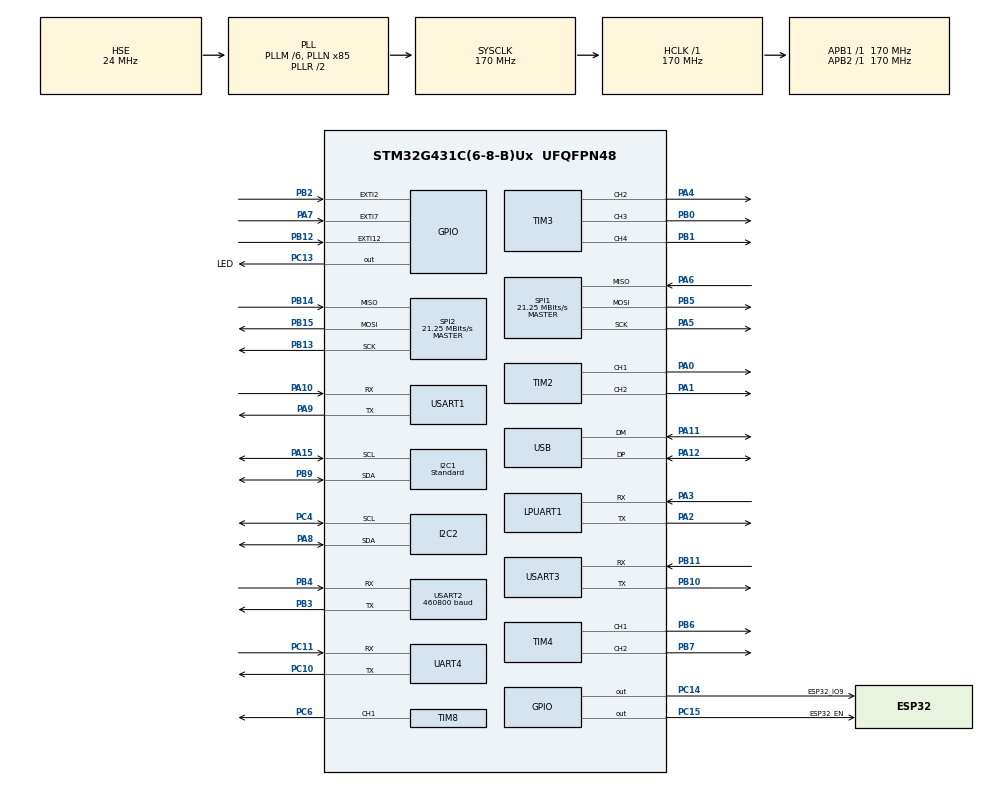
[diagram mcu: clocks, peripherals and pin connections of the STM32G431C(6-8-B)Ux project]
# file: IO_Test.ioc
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I2C1.I2C_Speed_Mode=I2C_Standard
I2C1.Timing=0x40B285C2
I2C2.Timing=0x40B285C2
Mcu.Family=STM32G4
Mcu.Name=STM32G431C(6-8-B)Ux
Mcu.Package=UFQFPN48
NVIC.PriorityGroup=NVIC_PRIORITYGROUP_4
NVIC.UART4_IRQn=true\:0\:0\:false\:false\:true\:true\:true\:true
NVIC.USART1_IRQn=true\:0\:0\:false\:false\:true\:true\:true\:true
NVIC.USART2_IRQn=true\:0\:0\:false\:false\:true\:true\:true\:true
NVIC.USART3_IRQn=true\:0\:0\:false\:false\:true\:true\:true\:true
NVIC.USB_LP_IRQn=true\:0\:0\:false\:false\:true\:false\:true\:true
PA0.Signal=S_TIM2_CH1
PA1.Signal=S_TIM2_CH2
PA10.Mode=Asynchronous
PA10.Signal=USART1_RX
PA11.Mode=Device
PA11.Signal=USB_DM
PA12.Mode=Device
PA12.Signal=USB_DP
PA13.Mode=Serial_Wire
PA13.Signal=SYS_JTMS-SWDIO
PA14.Mode=Serial_Wire
PA14.Signal=SYS_JTCK-SWCLK
PA15.Mode=I2C
PA15.Signal=I2C1_SCL
PA2.Mode=Asynchronous
PA2.Signal=LPUART1_TX
PA3.Mode=Asynchronous
PA3.Signal=LPUART1_RX
PA4.Signal=S_TIM3_CH2
PA5.Mode=Full_Duplex_Master
PA5.Signal=SPI1_SCK
PA6.Mode=Full_Duplex_Master
PA6.Signal=SPI1_MISO
PA7.Signal=GPXTI7
PA8.Mode=I2C
PA8.Signal=I2C2_SDA
PA9.Mode=Asynchronous
PA9.Signal=USART1_TX
PB0.Signal=S_TIM3_CH3
PB1.Signal=S_TIM3_CH4
PB10.Mode=Asynchronous
PB10.Signal=USART3_TX
PB11.Mode=Asynchronous
PB11.Signal=USART3_RX
PB12.Signal=GPXTI12
PB13.Mode=Full_Duplex_Master
PB13.Signal=SPI2_SCK
PB14.Mode=Full_Duplex_Master
PB14.Signal=SPI2_MISO
PB15.Mode=Full_Duplex_Master
PB15.Signal=SPI2_MOSI
PB2.Signal=GPXTI2
PB3.Mode=Asynchronous
PB3.Signal=USART2_TX
PB4.Mode=Asynchronous
PB4.Signal=USART2_RX
PB5.Mode=Full_Duplex_Master
PB5.Signal=SPI1_MOSI
PB6.Signal=S_TIM4_CH1
PB7.Signal=S_TIM4_CH2
PB9.Mode=I2C
PB9.Signal=I2C1_SDA
PC10.Mode=Asynchronous
PC10.Signal=UART4_TX
PC11.Mode=Asynchronous
PC11.Signal=UART4_RX
PC13.GPIO_Label=LED
PC13.Signal=GPIO_Output
PC14-OSC32_IN.GPIO_Label=ESP32_IO9
PC14-OSC32_IN.Signal=GPIO_Output
PC15-OSC32_OUT.GPIO_Label=ESP32_EN
PC15-OSC32_OUT.Signal=GPIO_Output
PC4.Mode=I2C
PC4.Signal=I2C2_SCL
PC6.Signal=S_TIM8_CH1
PF0-OSC_IN.Mode=HSE-External-Oscillator
PF0-OSC_IN.Signal=RCC_OSC_IN
PF1-OSC_OUT.Mode=HSE-External-Oscillator
PF1-OSC_OUT.Signal=RCC_OSC_OUT
ProjectManager.HeapSize=0x200
ProjectManager.StackSize=0x400
ProjectManager.TargetToolchain=MDK-ARM V5.32
RCC.ADC12Freq_Value=170000000
RCC.AHBFreq_Value=170000000
RCC.APB1Freq_Value=170000000
RCC.APB1TimFreq_Value=170000000
RCC.APB2Freq_Value=170000000
RCC.APB2TimFreq_Value=170000000
RCC.CK48CLockSelection=RCC_USBCLKSOURCE_HSI48
RCC.CortexFreq_Value=170000000
RCC.EXTERNAL_CLOCK_VALUE=12288000
RCC.HCLKFreq_Value=170000000
RCC.HSE_VALUE=24000000
RCC.HSI48_VALUE=48000000
RCC.HSI_VALUE=16000000
RCC.LSE_VALUE=32768
RCC.PLLM=RCC_PLLM_DIV6
RCC.PLLN=85
RCC.PLLSourceVirtual=RCC_PLLSOURCE_HSE
RCC.SYSCLKFreq_VALUE=170000000
RCC.SYSCLKSource=RCC_SYSCLKSOURCE_PLLCLK
RCC.USBFreq_Value=48000000
RCC.VCOOutputFreq_Value=340000000
SH.S_TIM2_CH1.0=TIM2_CH1,PWM Generation1 CH1
SH.S_TIM2_CH2.0=TIM2_CH2,PWM Generation2 CH2
SH.S_TIM3_CH2.0=TIM3_CH2,PWM Generation2 CH2
SH.S_TIM3_CH3.0=TIM3_CH3,PWM Generation3 CH3
SH.S_TIM3_CH4.0=TIM3_CH4,PWM Generation4 CH4
SH.S_TIM4_CH1.0=TIM4_CH1,PWM Generation1 CH1
SH.S_TIM4_CH2.0=TIM4_CH2,PWM Generation2 CH2
SH.S_TIM8_CH1.0=TIM8_CH1,PWM Generation1 CH1
SPI1.BaudRatePrescaler=SPI_BAUDRATEPRESCALER_8
SPI1.CalculateBaudRate=21.25 MBits/s
SPI1.Direction=SPI_DIRECTION_2LINES
SPI1.Mode=SPI_MODE_MASTER
SPI1.VirtualType=VM_MASTER
SPI2.BaudRatePrescaler=SPI_BAUDRATEPRESCALER_8
SPI2.CalculateBaudRate=21.25 MBits/s
SPI2.Direction=SPI_DIRECTION_2LINES
SPI2.Mode=SPI_MODE_MASTER
SPI2.VirtualType=VM_MASTER
TIM2.Channel-PWM\ Generation1\ CH1=TIM_CHANNEL_1
TIM2.Channel-PWM\ Generation2\ CH2=TIM_CHANNEL_2
TIM3.Channel-PWM\ Generation2\ CH2=TIM_CHANNEL_2
TIM3.Channel-PWM\ Generation3\ CH3=TIM_CHANNEL_3
TIM3.Channel-PWM\ Generation4\ CH4=TIM_CHANNEL_4
TIM4.Channel-PWM\ Generation1\ CH1=TIM_CHANNEL_1
TIM4.Channel-PWM\ Generation2\ CH2=TIM_CHANNEL_2
TIM8.Channel-PWM\ Generation1\ CH1=TIM_CHANNEL_1
USART1.VirtualMode-Asynchronous=VM_ASYNC
USART2.BaudRate=460800
USART2.VirtualMode-Asynchronous=VM_ASYNC
USART3.VirtualMode-Asynchronous=VM_ASYNC
USB_DEVICE.CLASS_NAME_FS=CDC
USB_DEVICE.VirtualMode=Cdc
USB_DEVICE.VirtualModeFS=Cdc_FS
VP_SYS_VS_DBSignals.Mode=DisableDeadBatterySignals
VP_USB_DEVICE_VS_USB_DEVICE_CDC_FS.Mode=CDC_FS
board=custom

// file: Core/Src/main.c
/* USER CODE BEGIN Header */
/**
  ******************************************************************************
  * @file           : main.c
  * @brief          : Main program body
  ******************************************************************************
  * @attention
  *
  * Copyright (c) 2025 STMicroelectronics.
  * All rights reserved.
  *
  * This software is licensed under terms that can be found in the LICENSE file
  * in the root directory of this software component.
  * If no LICENSE file comes with this software, it is provided AS-IS.
  *
  ******************************************************************************
  */
/* USER CODE END Header */
#include "main.h"
#include "i2c.h"
#include "usart.h"
#include "spi.h"
#include "tim.h"
#include "usb_device.h"
#include "gpio.h"

/* USER CODE BEGIN Includes */
#include "usbd_cdc_if.h"
#include "G431_Series.h"
#include "lsm6dso_reg.h"
/* USER CODE END Includes */

/* USER CODE BEGIN PD */
#define USE_DEBUG
#define USE_INFO
#define USE_PRINT

#if defined(USE_DEBUG) || defined(USE_INFO) || defined(USE_PRINT)
uint8_t printfBuf[100];
#endif
#ifdef USE_DEBUG
#define LOG_DEBUG(format, ...) CDC_Transmit_FS((uint8_t *)printfBuf, sprintf((char*)printfBuf, "[DEBUG] %s:%d %s(): " format "\n", __FILE__, __LINE__, __func__, ##__VA_ARGS__))
#else
#define LOG_DEBUG(format, ...)
#endif
#ifdef USE_INFO
#define LOG_INFO(format, ...) CDC_Transmit_FS((uint8_t *)printfBuf, sprintf((char*)printfBuf, "[INFO] %d %s(): " format "\n", __LINE__, __func__, ##__VA_ARGS__))
#else
#define LOG_INFO(format, ...)
#endif
#ifdef USE_PRINT
#define LOG_PRINT(format, ...) CDC_Transmit_FS((uint8_t *)printfBuf, sprintf((char*)printfBuf, "[PRINT] %s(): " format "\n", __func__, ##__VA_ARGS__))
#else
#define LOG_PRINT(format, ...)
#endif

#define SENSOR_BUS hi2c1

#define ACCEL_THRESHOLD_MIN   -2500.0f  // 加速度范围：后续可根据情况自定义
#define ACCEL_THRESHOLD_MAX   	2500.0f  //	+-2500
#define GYRO_THRESHOLD_MIN    -2200.0f  // 陀螺仪范围：后续可根据情况自定义
#define GYRO_THRESHOLD_MAX     2200.0f	 // +-2200
/* USER CODE END PD */

/* USER CODE BEGIN PV */
static int16_t data_raw_acceleration[3];
static int16_t data_raw_angular_rate[3];
static int16_t data_raw_temperature;
static float acceleration_mg[3];
static float angular_rate_mdps[3];
static float temperature_degC;
static uint8_t whoamI, rst;
static stmdev_ctx_t dev_ctx;

uint8_t data[21]={0xab,0xfd,0xfe,0x01,0x0d,0x00};
uint8_t sumcheck = 0;
uint8_t addcheck = 0;
int16_t	acc_int16[3]	={0,0,0};
int16_t	gyr_int16[3]		={0,0,0};
/* USER CODE END PV */

void SystemClock_Config(void);

/* USER CODE BEGIN 0 */
static int32_t imu_platform_read(void *handle, uint8_t reg, uint8_t *bufp, uint16_t len);
static int32_t imu_platform_write(void *handle, uint8_t reg, const uint8_t *bufp, uint16_t len);
void IMU_Init();
uint8_t get_xl();
uint8_t get_gy();

/* USER CODE END 0 */

int main(void)
{

  /* MCU Configuration--------------------------------------------------------*/

  /* Reset of all peripherals, Initializes the Flash interface and the Systick. */
  HAL_Init();

  /* Configure the system clock */
  SystemClock_Config();

  /* Initialize all configured peripherals */
  MX_GPIO_Init();
  MX_USB_Device_Init();
  MX_USART2_UART_Init();
  MX_USART3_UART_Init();
  MX_UART4_Init();
  MX_I2C1_Init();
  MX_LPUART1_UART_Init();
  MX_USART1_UART_Init();
  MX_I2C2_Init();
  MX_SPI1_Init();
  MX_SPI2_Init();
  MX_TIM2_Init();
  MX_TIM3_Init();
  MX_TIM4_Init();
  MX_TIM8_Init();
  /* USER CODE BEGIN 2 */
  Disable_ESP32_C3();
  HAL_Delay(1000);
  LOG_INFO("Disable_ESP32_C3:OK");
  IMU_Init();
  /* USER CODE END 2 */

  /* Infinite loop */
  /* USER CODE BEGIN WHILE */
  while (1)
  {
    get_xl();
    get_gy();

    memset(data_raw_acceleration, 0x00, 3 * sizeof(int16_t));
    lsm6dso_acceleration_raw_get(&dev_ctx, data_raw_acceleration);
    acceleration_mg[0] =
    lsm6dso_from_fs2_to_mg(data_raw_acceleration[0]);
    acceleration_mg[1] =
    lsm6dso_from_fs2_to_mg(data_raw_acceleration[1]);
    acceleration_mg[2] =
    lsm6dso_from_fs2_to_mg(data_raw_acceleration[2]);

    acc_int16[0]=(int16_t)(acceleration_mg[0]);
    acc_int16[1]=(int16_t)(acceleration_mg[1]);
    acc_int16[2]=(int16_t)(acceleration_mg[2]);

    memset(data_raw_angular_rate, 0x00, 3 * sizeof(int16_t));
    lsm6dso_angular_rate_raw_get(&dev_ctx, data_raw_angular_rate);
    angular_rate_mdps[0] =
    lsm6dso_from_fs2000_to_mdps(data_raw_angular_rate[0]);
    angular_rate_mdps[1] =
    lsm6dso_from_fs2000_to_mdps(data_raw_angular_rate[1]);
    angular_rate_mdps[2] =
    lsm6dso_from_fs2000_to_mdps(data_raw_angular_rate[2]);

    gyr_int16[0]=(int16_t)(angular_rate_mdps[0]/1000);
    gyr_int16[1]=(int16_t)(angular_rate_mdps[1]/1000);
    gyr_int16[2]=(int16_t)(angular_rate_mdps[2]/1000);

    data[7]=acc_int16[0]>>8;//ACC_X
    data[6]=acc_int16[0];
    data[9]=acc_int16[1]>>8;//ACC_Y
    data[8]=acc_int16[1];
    data[11]=acc_int16[2]>>8;//ACC_Z
    data[10]=acc_int16[2];

    data[13]=gyr_int16[0]>>8;//GYR_X
    data[12]=gyr_int16[0];
    data[15]=gyr_int16[1]>>8;//GYR_Y
    data[14]=gyr_int16[1];
    data[17]=gyr_int16[2]>>8;//GYR_Z
    data[16]=gyr_int16[2];

    data[18]=0;

    sumcheck = 0;
    addcheck = 0;
    for(uint16_t i=0; i < 19; i++)
    {
    sumcheck += data[i]; //从帧头开始，对每一字节进行求和，直到 DATA 区结束
    addcheck += sumcheck; //每一字节的求和操作，进行一次 sumcheck 的累加
    }
    data[19]=sumcheck;
    data[20]=addcheck;

    CDC_Transmit_FS(data,21);

    HAL_Delay(10);
    /* USER CODE END WHILE */

  }
}

void SystemClock_Config(void)
{
  RCC_OscInitTypeDef RCC_OscInitStruct = {0};
  RCC_ClkInitTypeDef RCC_ClkInitStruct = {0};

  /** Configure the main internal regulator output voltage
  */
  HAL_PWREx_ControlVoltageScaling(PWR_REGULATOR_VOLTAGE_SCALE1_BOOST);

  /** Initializes the RCC Oscillators according to the specified parameters
  * in the RCC_OscInitTypeDef structure.
  */
  RCC_OscInitStruct.OscillatorType = RCC_OSCILLATORTYPE_HSI48|RCC_OSCILLATORTYPE_HSE;
  RCC_OscInitStruct.HSEState = RCC_HSE_ON;
  RCC_OscInitStruct.HSI48State = RCC_HSI48_ON;
  RCC_OscInitStruct.PLL.PLLState = RCC_PLL_ON;
  RCC_OscInitStruct.PLL.PLLSource = RCC_PLLSOURCE_HSE;
  RCC_OscInitStruct.PLL.PLLM = RCC_PLLM_DIV6;
  RCC_OscInitStruct.PLL.PLLN = 85;
  RCC_OscInitStruct.PLL.PLLP = RCC_PLLP_DIV2;
  RCC_OscInitStruct.PLL.PLLQ = RCC_PLLQ_DIV2;
  RCC_OscInitStruct.PLL.PLLR = RCC_PLLR_DIV2;
  if (HAL_RCC_OscConfig(&RCC_OscInitStruct) != HAL_OK)
  {
    Error_Handler();
  }

  /** Initializes the CPU, AHB and APB buses clocks
  */
  RCC_ClkInitStruct.ClockType = RCC_CLOCKTYPE_HCLK|RCC_CLOCKTYPE_SYSCLK
                              |RCC_CLOCKTYPE_PCLK1|RCC_CLOCKTYPE_PCLK2;
  RCC_ClkInitStruct.SYSCLKSource = RCC_SYSCLKSOURCE_PLLCLK;
  RCC_ClkInitStruct.AHBCLKDivider = RCC_SYSCLK_DIV1;
  RCC_ClkInitStruct.APB1CLKDivider = RCC_HCLK_DIV1;
  RCC_ClkInitStruct.APB2CLKDivider = RCC_HCLK_DIV1;

  if (HAL_RCC_ClockConfig(&RCC_ClkInitStruct, FLASH_LATENCY_4) != HAL_OK)
  {
    Error_Handler();
  }
}

/* USER CODE BEGIN 4 */
static int32_t imu_platform_write(void *handle, uint8_t reg, const uint8_t *bufp, uint16_t len) {
    HAL_I2C_Mem_Write(handle, LSM6DSO_I2C_ADD_H, reg,
                     I2C_MEMADD_SIZE_8BIT, (uint8_t*) bufp, len, 1000);
    return 0;
}

static int32_t imu_platform_read(void *handle, uint8_t reg, uint8_t *bufp, uint16_t len) {
    HAL_I2C_Mem_Read(handle, LSM6DSO_I2C_ADD_H, reg,
                    I2C_MEMADD_SIZE_8BIT, bufp, len, 1000);
    return 0;
}
void IMU_Init()
{
  dev_ctx.write_reg = imu_platform_write;
  dev_ctx.read_reg = imu_platform_read;
  dev_ctx.mdelay = HAL_Delay;
  dev_ctx.handle = &SENSOR_BUS;
  while (1)
  {
    lsm6dso_device_id_get(&dev_ctx, &whoamI);
    LOG_INFO("LSM6DSO_ID=0x%x,whoamI=0x%x\r\n",LSM6DSO_ID,whoamI);
    if (whoamI == LSM6DSO_ID)
    break;
  };
  lsm6dso_reset_set(&dev_ctx, PROPERTY_ENABLE);
  do {
    lsm6dso_reset_get(&dev_ctx, &rst);
  } while (rst);
  lsm6dso_i3c_disable_set(&dev_ctx, LSM6DSO_I3C_DISABLE);
  lsm6dso_block_data_update_set(&dev_ctx, PROPERTY_ENABLE);
  lsm6dso_xl_data_rate_set(&dev_ctx, LSM6DSO_XL_ODR_12Hz5);
  lsm6dso_gy_data_rate_set(&dev_ctx, LSM6DSO_GY_ODR_12Hz5);
  lsm6dso_xl_full_scale_set(&dev_ctx, LSM6DSO_2g);
  lsm6dso_gy_full_scale_set(&dev_ctx, LSM6DSO_2000dps);
  lsm6dso_xl_hp_path_on_out_set(&dev_ctx, LSM6DSO_LP_ODR_DIV_100);
  lsm6dso_xl_filter_lp2_set(&dev_ctx, PROPERTY_ENABLE);
}

uint8_t get_xl()
{
  uint8_t reg;
  /* Read output only if new xl value is available */
  lsm6dso_xl_flag_data_ready_get(&dev_ctx, &reg);
  if (reg)
  {
    /* Read acceleration field data */
    memset(data_raw_acceleration, 0x00, 3 * sizeof(int16_t));
    lsm6dso_acceleration_raw_get(&dev_ctx, data_raw_acceleration);
  }
  return reg;
}

uint8_t get_gy()
{
  uint8_t reg;
  lsm6dso_gy_flag_data_ready_get(&dev_ctx, &reg);
  if (reg)
  {
    /* Read angular rate field data */
    memset(data_raw_angular_rate, 0x00, 3 * sizeof(int16_t));
    lsm6dso_angular_rate_raw_get(&dev_ctx, data_raw_angular_rate);
  }
  return reg;
}
/* USER CODE END 4 */

void Error_Handler(void)
{
  __disable_irq();
  while (1)
  {
  }
}
